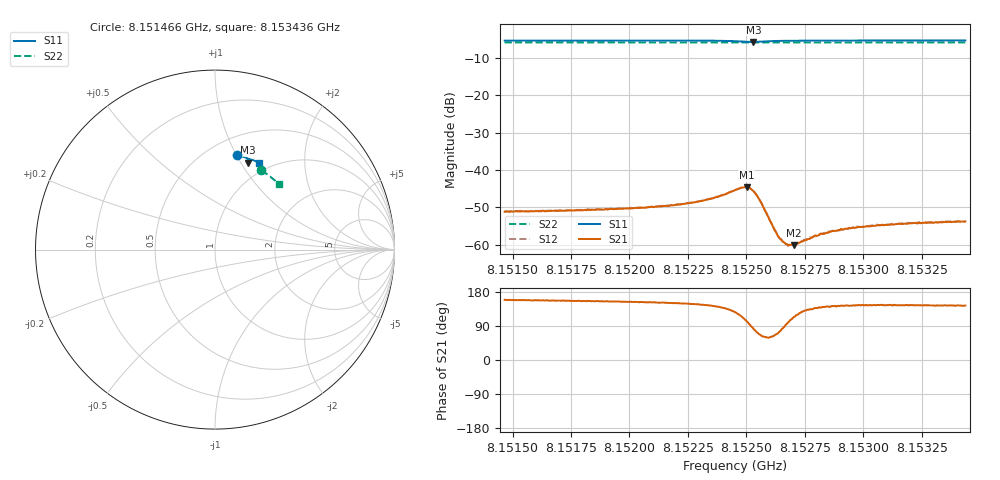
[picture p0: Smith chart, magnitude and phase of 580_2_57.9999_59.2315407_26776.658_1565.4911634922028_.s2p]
#  HZ  S  RI  R  50.00
! Rohde & Schwarz Vector Network Analyzer
! Rohde-Schwarz,ZNB20-2Port,1311601062101988,3.16
! Created: UTC 3/21/2024, 1:16:17 AM
! freq[Hz]  re:S11  im:S11  re:S21  im:S21  re:S12  im:S12  re:S22  im:S22
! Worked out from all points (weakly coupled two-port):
!   401 points, 8.151466 GHz to 8.153436 GHz, reference 50 ohm
!   highest |S21| = -44.60 dB at 8.1525 GHz (marker M1); lowest = -60.2 dB at 8.152702 GHz (marker M2)
!   lowest |S11| = -5.7 dB at 8.15253 GHz (marker M3), VSWR 3.15, Z = 40.4 + j53.6 ohm
!   |S11| at or under -10 dB: nowhere
!   |S22| runs from -5.9 to -5.8 dB; largest |S21 - S12| = 0.00012
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8.1514661e9  0.1218 0.526  -0.00257 0.000993  -0.00259 0.00103  0.259 0.4409
8.1517961e9  0.1448 0.5205  -0.00262 0.0012  -0.00264 0.00124  0.2768 0.4295
8.1521261e9  0.1683 0.5137  -0.00285 0.00157  -0.00284 0.00159  0.2943 0.4173
8.1523132e9  0.183 0.5075  -0.00319 0.00218  -0.00322 0.00224  0.3038 0.41
8.1523871e9  0.1896 0.5027  -0.00341 0.0029  -0.00338 0.003  0.3075 0.407
8.1524511e9  0.1939 0.4943  -0.0032 0.00431  -0.00316 0.00439  0.3107 0.4041
8.1524757e9  0.1935 0.4894  -0.00258 0.00513  -0.00252 0.00522  0.3116 0.4029
8.1525004e9  0.1897 0.4848  -0.0013 0.00574  -0.00124 0.00579  0.3126 0.4019
8.1525151e9  0.1858 0.4838  -0.00024 0.00567  -0.000222 0.00572  0.3131 0.4014
8.1525299e9  0.1817 0.4849  0.000675 0.00516  0.000743 0.00519  0.3137 0.401
8.1525595e9  0.178 0.4915  0.00152 0.00346  0.00161 0.0035  0.3151 0.4001
8.1526235e9  0.1844 0.5011  0.000597 0.00139  0.000669 0.00139  0.3184 0.3979
8.1526481e9  0.1876 0.502  0.000226 0.00115  0.000247 0.00114  0.3198 0.3969
8.1526629e9  0.1894 0.5024  2.25e-05 0.00106  4.64e-05 0.00106  0.3206 0.3963
8.1526777e9  0.1913 0.5025  -0.000153 0.000988  -0.000131 0.000945  0.3212 0.3957
8.1527023e9  0.1938 0.5024  -0.000387 0.000902  -0.000404 0.000936  0.3226 0.3947
8.1527811e9  0.2013 0.5012  -0.000866 0.000893  -0.000882 0.0009  0.3264 0.3913
8.1528599e9  0.2078 0.4994  -0.00116 0.000942  -0.00115 0.000951  0.3303 0.3881
8.1529141e9  0.212 0.498  -0.00128 0.000962  -0.00126 0.000977  0.3329 0.3858
8.1529682e9  0.2158 0.4966  -0.00139 0.000987  -0.00138 0.00102  0.3355 0.3835
8.1531111e9  0.2258 0.4928  -0.00152 0.00104  -0.00151 0.0011  0.3419 0.3772
8.1534361e9  0.2468 0.4832  -0.00165 0.00121  -0.00163 0.00127  0.3568 0.3628
